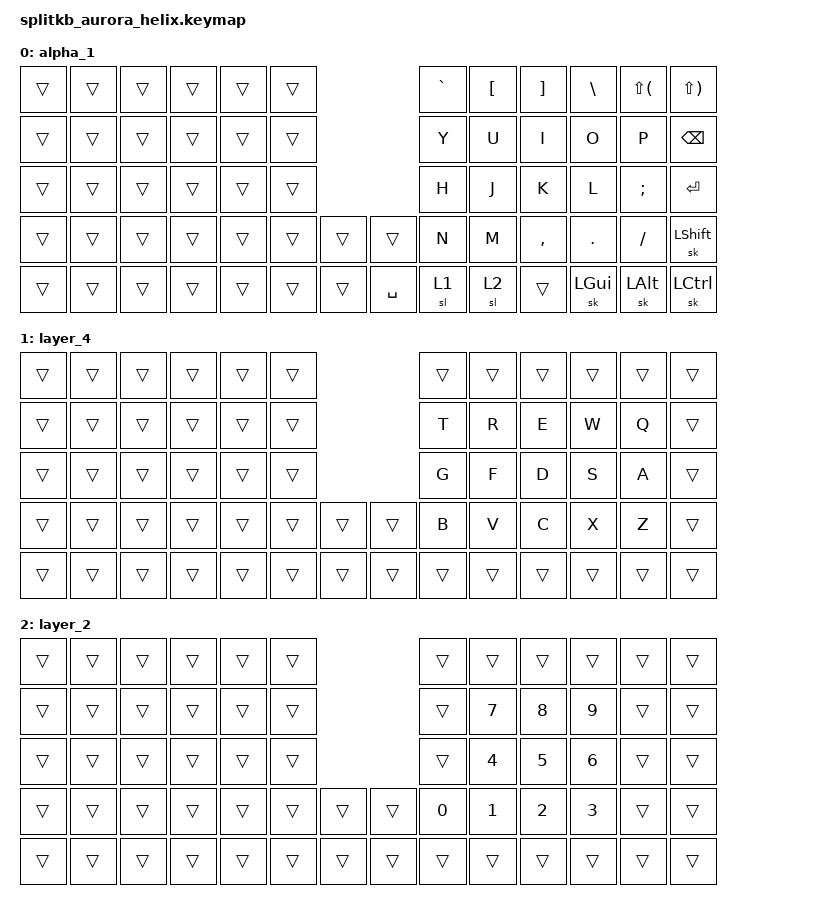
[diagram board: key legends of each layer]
/*
 * Copyright (c) 2023 The ZMK Contributors
 *
 * SPDX-License-Identifier: MIT
 */

#include <behaviors.dtsi>
#include <dt-bindings/zmk/keys.h>

#define DEFAULT 0
#define LOWER  1
#define RAISE  2
#define ADJUST 3

/* Uncomment this block if using RGB
&led_strip {
       chain-length = <6>;
       // chain-length = <38>; // Uncomment if using both per-key and underglow LEDs
       // chain-length = <32>; // Uncomment if using only per-key LEDs.
};
 */
/* NOTE: At the time of the creation of this keymap, there are no specified codes for 'eisuu' and 'kana' input in ZMK.
However, 'LANG1' and 'LANG2' are fully-functioning candidates for 'kana' and 'eisuu' input respectively.
As such, those are in use within the default layer at this time.*/

/ {
    keymap {
        compatible = "zmk,keymap";

        alpha_1 {
            bindings = <
&trans  &trans  &trans  &trans  &trans  &trans                       &kp GRAVE  &kp LBKT  &kp RBKT   &kp BSLH  &kp LS(LPAR)  &kp LS(RPAR)
&trans  &trans  &trans  &trans  &trans  &trans                       &kp Y      &kp U     &kp I      &kp O     &kp P         &kp BSPC
&trans  &trans  &trans  &trans  &trans  &trans                       &kp H      &kp J     &kp K      &kp L     &kp SEMI      &kp RET
&trans  &trans  &trans  &trans  &trans  &trans  &trans    &trans     &kp N      &kp M     &kp COMMA  &kp DOT   &kp FSLH      &sk LSHFT
&trans  &trans  &trans  &trans  &trans  &trans  &trans    &kp SPACE  &sl 1      &sl 2     &trans     &sk LGUI  &sk LALT      &sk LCTRL
            >;
        };

        layer_4 {
            bindings = <
&trans  &trans  &trans  &trans  &trans  &trans                    &trans  &trans  &trans  &trans  &trans  &trans
&trans  &trans  &trans  &trans  &trans  &trans                    &kp T   &kp R   &kp E   &kp W   &kp Q   &trans
&trans  &trans  &trans  &trans  &trans  &trans                    &kp G   &kp F   &kp D   &kp S   &kp A   &trans
&trans  &trans  &trans  &trans  &trans  &trans  &trans    &trans  &kp B   &kp V   &kp C   &kp X   &kp Z   &trans
&trans  &trans  &trans  &trans  &trans  &trans  &trans    &trans  &trans  &trans  &trans  &trans  &trans  &trans
            >;
        };

        layer_2 {
            bindings = <
&trans  &trans  &trans  &trans  &trans  &trans                    &trans  &trans  &trans  &trans  &trans  &trans
&trans  &trans  &trans  &trans  &trans  &trans                    &trans  &kp N7  &kp N8  &kp N9  &trans  &trans
&trans  &trans  &trans  &trans  &trans  &trans                    &trans  &kp N4  &kp N5  &kp N6  &trans  &trans
&trans  &trans  &trans  &trans  &trans  &trans  &trans    &trans  &kp N0  &kp N1  &kp N2  &kp N3  &trans  &trans
&trans  &trans  &trans  &trans  &trans  &trans  &trans    &trans  &trans  &trans  &trans  &trans  &trans  &trans
            >;
        };
    };
};
